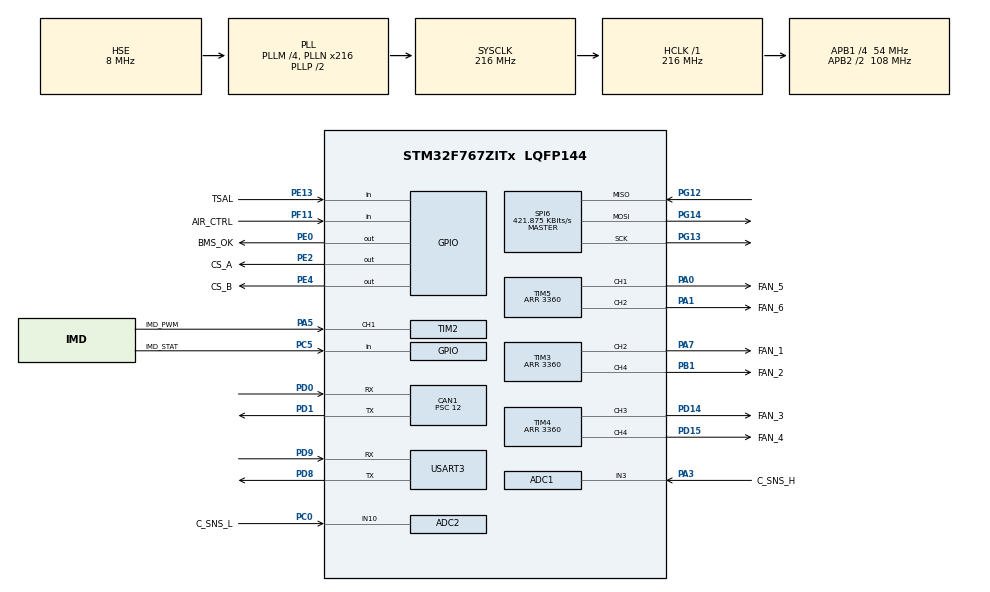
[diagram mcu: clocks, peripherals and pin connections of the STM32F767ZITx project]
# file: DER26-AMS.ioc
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ADC1.Channel-0\#ChannelRegularConversion=ADC_CHANNEL_3
ADC1.ClockPrescaler=ADC_CLOCK_SYNC_PCLK_DIV6
ADC1.NbrOfConversionFlag=1
ADC1.Rank-0\#ChannelRegularConversion=1
ADC1.SamplingTime-0\#ChannelRegularConversion=ADC_SAMPLETIME_3CYCLES
ADC1.master=1
ADC2.Channel-0\#ChannelRegularConversion=ADC_CHANNEL_10
ADC2.ClockPrescaler=ADC_CLOCK_SYNC_PCLK_DIV6
ADC2.NbrOfConversionFlag=1
ADC2.Rank-0\#ChannelRegularConversion=1
ADC2.SamplingTime-0\#ChannelRegularConversion=ADC_SAMPLETIME_3CYCLES
CAN1.ABOM=ENABLE
CAN1.AWUM=ENABLE
CAN1.BS1=CAN_BS1_15TQ
CAN1.BS2=CAN_BS2_2TQ
CAN1.CalculateBaudRate=250000
CAN1.CalculateTimeBit=4000
CAN1.CalculateTimeQuantum=222.22222222222223
CAN1.Prescaler=12
CORTEX_M7.MPU_Control=__NULL
CORTEX_M7.default_mode_Activation=1
FREERTOS.Tasks01=defaultTask,24,128,StartDefaultTask,Default,NULL,Dynamic,NULL,NULL
FREERTOS.configENABLE_FPU=1
FREERTOS.configUSE_NEWLIB_REENTRANT=1
Mcu.Family=STM32F7
Mcu.Name=STM32F767ZITx
Mcu.Package=LQFP144
NVIC.CAN1_RX0_IRQn=true\:5\:0\:false\:false\:true\:true\:true\:true\:true
NVIC.PriorityGroup=NVIC_PRIORITYGROUP_4
NVIC.TIM2_IRQn=true\:5\:0\:false\:false\:true\:true\:true\:true\:true
NVIC.TIM7_IRQn=true\:15\:0\:false\:false\:true\:false\:false\:true\:true
NVIC.TimeBase=TIM7_IRQn
NVIC.TimeBaseIP=TIM7
NVIC.USART3_IRQn=true\:5\:0\:false\:false\:true\:true\:true\:true\:true
PA0/WKUP.GPIO_Label=FAN_5
PA0/WKUP.Signal=S_TIM5_CH1
PA1.GPIO_Label=FAN_6
PA1.Signal=S_TIM5_CH2
PA13.Mode=Serial_Wire
PA13.Signal=SYS_JTMS-SWDIO
PA14.Mode=Serial_Wire
PA14.Signal=SYS_JTCK-SWCLK
PA3.GPIO_Label=C_SNS_H
PA3.Signal=ADCx_IN3
PA5.GPIO_Label=IMD_PWM
PA5.Signal=S_TIM2_CH1_ETR
PA7.GPIO_Label=FAN_1
PA7.Signal=S_TIM3_CH2
PB1.GPIO_Label=FAN_2
PB1.Signal=S_TIM3_CH4
PC0.GPIO_Label=C_SNS_L
PC0.Signal=ADCx_IN10
PC14/OSC32_IN.Mode=LSE-External-Oscillator
PC14/OSC32_IN.Signal=RCC_OSC32_IN
PC15/OSC32_OUT.Mode=LSE-External-Oscillator
PC15/OSC32_OUT.Signal=RCC_OSC32_OUT
PC5.GPIO_Label=IMD_STAT
PC5.Signal=GPIO_Input
PD0.Mode=CAN_Activate
PD0.Signal=CAN1_RX
PD1.Mode=CAN_Activate
PD1.Signal=CAN1_TX
PD14.GPIO_Label=FAN_3
PD14.Signal=S_TIM4_CH3
PD15.GPIO_Label=FAN_4
PD15.Signal=S_TIM4_CH4
PD8.Mode=Asynchronous
PD8.Signal=USART3_TX
PD9.Mode=Asynchronous
PD9.Signal=USART3_RX
PE0.GPIO_Label=BMS_OK
PE0.Signal=GPIO_Output
PE13.GPIO_Label=TSAL
PE13.Signal=GPIO_Input
PE2.GPIO_Label=CS_A
PE2.Signal=GPIO_Output
PE4.GPIO_Label=CS_B
PE4.Signal=GPIO_Output
PF11.GPIO_Label=AIR_CTRL
PF11.Signal=GPIO_Input
PG12.Mode=Full_Duplex_Master
PG12.Signal=SPI6_MISO
PG13.Mode=Full_Duplex_Master
PG13.Signal=SPI6_SCK
PG14.Mode=Full_Duplex_Master
PG14.Signal=SPI6_MOSI
PH0/OSC_IN.Mode=HSE-External-Oscillator
PH0/OSC_IN.Signal=RCC_OSC_IN
PH1/OSC_OUT.Mode=HSE-External-Oscillator
PH1/OSC_OUT.Signal=RCC_OSC_OUT
ProjectManager.HeapSize=0x200
ProjectManager.StackSize=0x400
ProjectManager.TargetToolchain=STM32CubeIDE
RCC.AHBFreq_Value=216000000
RCC.APB1CLKDivider=RCC_HCLK_DIV4
RCC.APB1Freq_Value=54000000
RCC.APB1TimFreq_Value=108000000
RCC.APB2CLKDivider=RCC_HCLK_DIV2
RCC.APB2Freq_Value=108000000
RCC.APB2TimFreq_Value=216000000
RCC.CortexFreq_Value=216000000
RCC.HCLKFreq_Value=216000000
RCC.HSE_VALUE=8000000
RCC.HSI_VALUE=16000000
RCC.PLLM=4
RCC.PLLN=216
RCC.PLLSourceVirtual=RCC_PLLSOURCE_HSE
RCC.SYSCLKFreq_VALUE=216000000
RCC.SYSCLKSource=RCC_SYSCLKSOURCE_PLLCLK
RCC.USBFreq_Value=216000000
RCC.VCOOutputFreq_Value=432000000
SH.ADCx_IN10.0=ADC2_IN10,IN10
SH.ADCx_IN3.0=ADC1_IN3,IN3
SH.S_TIM2_CH1_ETR.0=TIM2_CH1,PWM_Input_1
SH.S_TIM3_CH2.0=TIM3_CH2,PWM Generation2 CH2
SH.S_TIM3_CH4.0=TIM3_CH4,PWM Generation4 CH4
SH.S_TIM4_CH3.0=TIM4_CH3,PWM Generation3 CH3
SH.S_TIM4_CH4.0=TIM4_CH4,PWM Generation4 CH4
SH.S_TIM5_CH1.0=TIM5_CH1,PWM Generation1 CH1
SH.S_TIM5_CH2.0=TIM5_CH2,PWM Generation2 CH2
SPI6.BaudRatePrescaler=SPI_BAUDRATEPRESCALER_256
SPI6.CLKPhase=SPI_PHASE_2EDGE
SPI6.CLKPolarity=SPI_POLARITY_LOW
SPI6.CalculateBaudRate=421.875 KBits/s
SPI6.DataSize=SPI_DATASIZE_8BIT
SPI6.Direction=SPI_DIRECTION_2LINES
SPI6.Mode=SPI_MODE_MASTER
SPI6.VirtualType=VM_MASTER
TIM1.AutoReloadPreload=TIM_AUTORELOAD_PRELOAD_ENABLE
TIM1.Prescaler=215
TIM2.Prescaler=0
TIM3.Channel-PWM\ Generation2\ CH2=TIM_CHANNEL_2
TIM3.Channel-PWM\ Generation4\ CH4=TIM_CHANNEL_4
TIM3.Period=3360
TIM4.AutoReloadPreload=TIM_AUTORELOAD_PRELOAD_ENABLE
TIM4.Channel-PWM\ Generation3\ CH3=TIM_CHANNEL_3
TIM4.Channel-PWM\ Generation4\ CH4=TIM_CHANNEL_4
TIM4.Period=3360
TIM5.AutoReloadPreload=TIM_AUTORELOAD_PRELOAD_ENABLE
TIM5.Channel-PWM\ Generation1\ CH1=TIM_CHANNEL_1
TIM5.Channel-PWM\ Generation2\ CH2=TIM_CHANNEL_2
TIM5.Period=3360
USART3.VirtualMode-Asynchronous=VM_ASYNC
VP_FREERTOS_VS_CMSIS_V2.Mode=CMSIS_V2
VP_SYS_VS_tim7.Mode=TIM7
VP_TIM1_VS_ClockSourceINT.Mode=Internal
VP_TIM2_VS_ClockSourceINT.Mode=Internal
VP_TIM3_VS_ClockSourceINT.Mode=Internal
VP_TIM4_VS_ClockSourceINT.Mode=Internal
VP_TIM5_VS_ClockSourceINT.Mode=Internal
board=custom

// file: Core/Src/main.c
/* USER CODE BEGIN Header */
/**
  ******************************************************************************
  * @file           : main.c
  * @brief          : Main program body
  ******************************************************************************
  * @attention
  *
  * Copyright (c) 2025 STMicroelectronics.
  * All rights reserved.
  *
  * This software is licensed under terms that can be found in the LICENSE file
  * in the root directory of this software component.
  * If no LICENSE file comes with this software, it is provided AS-IS.
  *
  ******************************************************************************
  */
/* USER CODE END Header */
#include "main.h"
#include "cmsis_os.h"

/* USER CODE BEGIN Includes */
#include "app.h"
/* USER CODE END Includes */

ADC_HandleTypeDef hadc1;
ADC_HandleTypeDef hadc2;

CAN_HandleTypeDef hcan1;

SPI_HandleTypeDef hspi6;

TIM_HandleTypeDef htim1;
TIM_HandleTypeDef htim2;
TIM_HandleTypeDef htim3;
TIM_HandleTypeDef htim4;
TIM_HandleTypeDef htim5;

UART_HandleTypeDef huart3;

/* Definitions for defaultTask */
osThreadId_t defaultTaskHandle;
const osThreadAttr_t defaultTask_attributes = {
  .name = "defaultTask",
  .stack_size = 128 * 4,
  .priority = (osPriority_t) osPriorityNormal,
};

void SystemClock_Config(void);
static void MX_GPIO_Init(void);
static void MX_ADC1_Init(void);
static void MX_ADC2_Init(void);
static void MX_CAN1_Init(void);
static void MX_SPI6_Init(void);
static void MX_TIM2_Init(void);
static void MX_TIM3_Init(void);
static void MX_TIM4_Init(void);
static void MX_TIM5_Init(void);
static void MX_USART3_UART_Init(void);
static void MX_TIM1_Init(void);
void StartDefaultTask(void *argument);

int main(void)
{

  /* MCU Configuration--------------------------------------------------------*/

  /* Reset of all peripherals, Initializes the Flash interface and the Systick. */
  HAL_Init();

  /* Configure the system clock */
  SystemClock_Config();

  /* Initialize all configured peripherals */
  MX_GPIO_Init();
  MX_ADC1_Init();
  MX_ADC2_Init();
  MX_CAN1_Init();
  MX_SPI6_Init();
  MX_TIM2_Init();
  MX_TIM3_Init();
  MX_TIM4_Init();
  MX_TIM5_Init();
  MX_USART3_UART_Init();
  MX_TIM1_Init();

  /* Init scheduler */
  osKernelInitialize();

  /* USER CODE BEGIN RTOS_QUEUES */
  /* add queues, ... */
#if 0
  /* USER CODE END RTOS_QUEUES */

  /* Create the thread(s) */
  /* creation of defaultTask */
  defaultTaskHandle = osThreadNew(StartDefaultTask, NULL, &defaultTask_attributes);

  /* USER CODE BEGIN RTOS_THREADS */
#endif
  /* add threads, ... */
  /* USER CODE END RTOS_THREADS */

  /* USER CODE BEGIN RTOS_EVENTS */
  /* add events, ... */
  app_create();
  /* USER CODE END RTOS_EVENTS */

  /* Start scheduler */
  osKernelStart();

  /* We should never get here as control is now taken by the scheduler */

  /* Infinite loop */
  while (1)
  {

  }
}

void SystemClock_Config(void)
{
  RCC_OscInitTypeDef RCC_OscInitStruct = {0};
  RCC_ClkInitTypeDef RCC_ClkInitStruct = {0};

  /** Configure LSE Drive Capability
  */
  HAL_PWR_EnableBkUpAccess();

  /** Configure the main internal regulator output voltage
  */
  __HAL_RCC_PWR_CLK_ENABLE();
  __HAL_PWR_VOLTAGESCALING_CONFIG(PWR_REGULATOR_VOLTAGE_SCALE1);

  /** Initializes the RCC Oscillators according to the specified parameters
  * in the RCC_OscInitTypeDef structure.
  */
  RCC_OscInitStruct.OscillatorType = RCC_OSCILLATORTYPE_HSE;
  RCC_OscInitStruct.HSEState = RCC_HSE_ON;
  RCC_OscInitStruct.PLL.PLLState = RCC_PLL_ON;
  RCC_OscInitStruct.PLL.PLLSource = RCC_PLLSOURCE_HSE;
  RCC_OscInitStruct.PLL.PLLM = 4;
  RCC_OscInitStruct.PLL.PLLN = 216;
  RCC_OscInitStruct.PLL.PLLP = RCC_PLLP_DIV2;
  RCC_OscInitStruct.PLL.PLLQ = 2;
  RCC_OscInitStruct.PLL.PLLR = 2;
  if (HAL_RCC_OscConfig(&RCC_OscInitStruct) != HAL_OK)
  {
    Error_Handler();
  }

  /** Activate the Over-Drive mode
  */
  if (HAL_PWREx_EnableOverDrive() != HAL_OK)
  {
    Error_Handler();
  }

  /** Initializes the CPU, AHB and APB buses clocks
  */
  RCC_ClkInitStruct.ClockType = RCC_CLOCKTYPE_HCLK|RCC_CLOCKTYPE_SYSCLK
                              |RCC_CLOCKTYPE_PCLK1|RCC_CLOCKTYPE_PCLK2;
  RCC_ClkInitStruct.SYSCLKSource = RCC_SYSCLKSOURCE_PLLCLK;
  RCC_ClkInitStruct.AHBCLKDivider = RCC_SYSCLK_DIV1;
  RCC_ClkInitStruct.APB1CLKDivider = RCC_HCLK_DIV4;
  RCC_ClkInitStruct.APB2CLKDivider = RCC_HCLK_DIV2;

  if (HAL_RCC_ClockConfig(&RCC_ClkInitStruct, FLASH_LATENCY_7) != HAL_OK)
  {
    Error_Handler();
  }
}

static void MX_ADC1_Init(void)
{

  ADC_ChannelConfTypeDef sConfig = {0};

  /** Configure the global features of the ADC (Clock, Resolution, Data Alignment and number of conversion)
  */
  hadc1.Instance = ADC1;
  hadc1.Init.ClockPrescaler = ADC_CLOCK_SYNC_PCLK_DIV6;
  hadc1.Init.Resolution = ADC_RESOLUTION_12B;
  hadc1.Init.ScanConvMode = ADC_SCAN_DISABLE;
  hadc1.Init.ContinuousConvMode = DISABLE;
  hadc1.Init.DiscontinuousConvMode = DISABLE;
  hadc1.Init.ExternalTrigConvEdge = ADC_EXTERNALTRIGCONVEDGE_NONE;
  hadc1.Init.ExternalTrigConv = ADC_SOFTWARE_START;
  hadc1.Init.DataAlign = ADC_DATAALIGN_RIGHT;
  hadc1.Init.NbrOfConversion = 1;
  hadc1.Init.DMAContinuousRequests = DISABLE;
  hadc1.Init.EOCSelection = ADC_EOC_SINGLE_CONV;
  if (HAL_ADC_Init(&hadc1) != HAL_OK)
  {
    Error_Handler();
  }

  /** Configure for the selected ADC regular channel its corresponding rank in the sequencer and its sample time.
  */
  sConfig.Channel = ADC_CHANNEL_3;
  sConfig.Rank = ADC_REGULAR_RANK_1;
  sConfig.SamplingTime = ADC_SAMPLETIME_3CYCLES;
  if (HAL_ADC_ConfigChannel(&hadc1, &sConfig) != HAL_OK)
  {
    Error_Handler();
  }

}

static void MX_ADC2_Init(void)
{

  ADC_ChannelConfTypeDef sConfig = {0};

  /** Configure the global features of the ADC (Clock, Resolution, Data Alignment and number of conversion)
  */
  hadc2.Instance = ADC2;
  hadc2.Init.ClockPrescaler = ADC_CLOCK_SYNC_PCLK_DIV6;
  hadc2.Init.Resolution = ADC_RESOLUTION_12B;
  hadc2.Init.ScanConvMode = ADC_SCAN_DISABLE;
  hadc2.Init.ContinuousConvMode = DISABLE;
  hadc2.Init.DiscontinuousConvMode = DISABLE;
  hadc2.Init.ExternalTrigConvEdge = ADC_EXTERNALTRIGCONVEDGE_NONE;
  hadc2.Init.ExternalTrigConv = ADC_SOFTWARE_START;
  hadc2.Init.DataAlign = ADC_DATAALIGN_RIGHT;
  hadc2.Init.NbrOfConversion = 1;
  hadc2.Init.DMAContinuousRequests = DISABLE;
  hadc2.Init.EOCSelection = ADC_EOC_SINGLE_CONV;
  if (HAL_ADC_Init(&hadc2) != HAL_OK)
  {
    Error_Handler();
  }

  /** Configure for the selected ADC regular channel its corresponding rank in the sequencer and its sample time.
  */
  sConfig.Channel = ADC_CHANNEL_10;
  sConfig.Rank = ADC_REGULAR_RANK_1;
  sConfig.SamplingTime = ADC_SAMPLETIME_3CYCLES;
  if (HAL_ADC_ConfigChannel(&hadc2, &sConfig) != HAL_OK)
  {
    Error_Handler();
  }

}

static void MX_CAN1_Init(void)
{

  hcan1.Instance = CAN1;
  hcan1.Init.Prescaler = 12;
  hcan1.Init.Mode = CAN_MODE_NORMAL;
  hcan1.Init.SyncJumpWidth = CAN_SJW_1TQ;
  hcan1.Init.TimeSeg1 = CAN_BS1_15TQ;
  hcan1.Init.TimeSeg2 = CAN_BS2_2TQ;
  hcan1.Init.TimeTriggeredMode = DISABLE;
  hcan1.Init.AutoBusOff = ENABLE;
  hcan1.Init.AutoWakeUp = ENABLE;
  hcan1.Init.AutoRetransmission = DISABLE;
  hcan1.Init.ReceiveFifoLocked = DISABLE;
  hcan1.Init.TransmitFifoPriority = DISABLE;
  if (HAL_CAN_Init(&hcan1) != HAL_OK)
  {
    Error_Handler();
  }
  /* USER CODE BEGIN CAN1_Init 2 */
  CAN_FilterTypeDef canfil;
  canfil.FilterBank           = 0;
  canfil.FilterMode           = CAN_FILTERMODE_IDMASK;
  canfil.FilterFIFOAssignment = CAN_RX_FIFO0;
  canfil.FilterIdHigh         = 0;
  canfil.FilterIdLow          = 0;
  canfil.FilterMaskIdHigh     = 0;
  canfil.FilterMaskIdLow      = 0;
  canfil.FilterScale          = CAN_FILTERSCALE_32BIT;
  canfil.FilterActivation     = ENABLE;
  canfil.SlaveStartFilterBank = 14;
  HAL_CAN_ConfigFilter(&hcan1, &canfil);
  /* USER CODE END CAN1_Init 2 */

}

static void MX_SPI6_Init(void)
{

  /* SPI6 parameter configuration*/
  hspi6.Instance = SPI6;
  hspi6.Init.Mode = SPI_MODE_MASTER;
  hspi6.Init.Direction = SPI_DIRECTION_2LINES;
  hspi6.Init.DataSize = SPI_DATASIZE_8BIT;
  hspi6.Init.CLKPolarity = SPI_POLARITY_LOW;
  hspi6.Init.CLKPhase = SPI_PHASE_2EDGE;
  hspi6.Init.NSS = SPI_NSS_SOFT;
  hspi6.Init.BaudRatePrescaler = SPI_BAUDRATEPRESCALER_256;
  hspi6.Init.FirstBit = SPI_FIRSTBIT_MSB;
  hspi6.Init.TIMode = SPI_TIMODE_DISABLE;
  hspi6.Init.CRCCalculation = SPI_CRCCALCULATION_DISABLE;
  hspi6.Init.CRCPolynomial = 7;
  hspi6.Init.CRCLength = SPI_CRC_LENGTH_DATASIZE;
  hspi6.Init.NSSPMode = SPI_NSS_PULSE_DISABLE;
  if (HAL_SPI_Init(&hspi6) != HAL_OK)
  {
    Error_Handler();
  }

}

static void MX_TIM1_Init(void)
{

  TIM_ClockConfigTypeDef sClockSourceConfig = {0};
  TIM_MasterConfigTypeDef sMasterConfig = {0};

  htim1.Instance = TIM1;
  htim1.Init.Prescaler = 215;
  htim1.Init.CounterMode = TIM_COUNTERMODE_UP;
  htim1.Init.Period = 65535;
  htim1.Init.ClockDivision = TIM_CLOCKDIVISION_DIV1;
  htim1.Init.RepetitionCounter = 0;
  htim1.Init.AutoReloadPreload = TIM_AUTORELOAD_PRELOAD_ENABLE;
  if (HAL_TIM_Base_Init(&htim1) != HAL_OK)
  {
    Error_Handler();
  }
  sClockSourceConfig.ClockSource = TIM_CLOCKSOURCE_INTERNAL;
  if (HAL_TIM_ConfigClockSource(&htim1, &sClockSourceConfig) != HAL_OK)
  {
    Error_Handler();
  }
  sMasterConfig.MasterOutputTrigger = TIM_TRGO_RESET;
  sMasterConfig.MasterOutputTrigger2 = TIM_TRGO2_RESET;
  sMasterConfig.MasterSlaveMode = TIM_MASTERSLAVEMODE_DISABLE;
  if (HAL_TIMEx_MasterConfigSynchronization(&htim1, &sMasterConfig) != HAL_OK)
  {
    Error_Handler();
  }

}

static void MX_TIM2_Init(void)
{

  TIM_ClockConfigTypeDef sClockSourceConfig = {0};
  TIM_SlaveConfigTypeDef sSlaveConfig = {0};
  TIM_IC_InitTypeDef sConfigIC = {0};
  TIM_MasterConfigTypeDef sMasterConfig = {0};

  htim2.Instance = TIM2;
  htim2.Init.Prescaler = 0;
  htim2.Init.CounterMode = TIM_COUNTERMODE_UP;
  htim2.Init.Period = 4294967295;
  htim2.Init.ClockDivision = TIM_CLOCKDIVISION_DIV1;
  htim2.Init.AutoReloadPreload = TIM_AUTORELOAD_PRELOAD_DISABLE;
  if (HAL_TIM_Base_Init(&htim2) != HAL_OK)
  {
    Error_Handler();
  }
  sClockSourceConfig.ClockSource = TIM_CLOCKSOURCE_INTERNAL;
  if (HAL_TIM_ConfigClockSource(&htim2, &sClockSourceConfig) != HAL_OK)
  {
    Error_Handler();
  }
  if (HAL_TIM_IC_Init(&htim2) != HAL_OK)
  {
    Error_Handler();
  }
  sSlaveConfig.SlaveMode = TIM_SLAVEMODE_RESET;
  sSlaveConfig.InputTrigger = TIM_TS_TI1FP1;
  sSlaveConfig.TriggerPolarity = TIM_INPUTCHANNELPOLARITY_RISING;
  sSlaveConfig.TriggerPrescaler = TIM_ICPSC_DIV1;
  sSlaveConfig.TriggerFilter = 0;
  if (HAL_TIM_SlaveConfigSynchro(&htim2, &sSlaveConfig) != HAL_OK)
  {
    Error_Handler();
  }
  sConfigIC.ICPolarity = TIM_INPUTCHANNELPOLARITY_RISING;
  sConfigIC.ICSelection = TIM_ICSELECTION_DIRECTTI;
  sConfigIC.ICPrescaler = TIM_ICPSC_DIV1;
  sConfigIC.ICFilter = 0;
  if (HAL_TIM_IC_ConfigChannel(&htim2, &sConfigIC, TIM_CHANNEL_1) != HAL_OK)
  {
    Error_Handler();
  }
  sConfigIC.ICPolarity = TIM_INPUTCHANNELPOLARITY_FALLING;
  sConfigIC.ICSelection = TIM_ICSELECTION_INDIRECTTI;
  if (HAL_TIM_IC_ConfigChannel(&htim2, &sConfigIC, TIM_CHANNEL_2) != HAL_OK)
  {
    Error_Handler();
  }
  sMasterConfig.MasterOutputTrigger = TIM_TRGO_RESET;
  sMasterConfig.MasterSlaveMode = TIM_MASTERSLAVEMODE_DISABLE;
  if (HAL_TIMEx_MasterConfigSynchronization(&htim2, &sMasterConfig) != HAL_OK)
  {
    Error_Handler();
  }

}

static void MX_TIM3_Init(void)
{

  TIM_ClockConfigTypeDef sClockSourceConfig = {0};
  TIM_MasterConfigTypeDef sMasterConfig = {0};
  TIM_OC_InitTypeDef sConfigOC = {0};

  htim3.Instance = TIM3;
  htim3.Init.Prescaler = 0;
  htim3.Init.CounterMode = TIM_COUNTERMODE_UP;
  htim3.Init.Period = 3360;
  htim3.Init.ClockDivision = TIM_CLOCKDIVISION_DIV1;
  htim3.Init.AutoReloadPreload = TIM_AUTORELOAD_PRELOAD_DISABLE;
  if (HAL_TIM_Base_Init(&htim3) != HAL_OK)
  {
    Error_Handler();
  }
  sClockSourceConfig.ClockSource = TIM_CLOCKSOURCE_INTERNAL;
  if (HAL_TIM_ConfigClockSource(&htim3, &sClockSourceConfig) != HAL_OK)
  {
    Error_Handler();
  }
  if (HAL_TIM_PWM_Init(&htim3) != HAL_OK)
  {
    Error_Handler();
  }
  sMasterConfig.MasterOutputTrigger = TIM_TRGO_RESET;
  sMasterConfig.MasterSlaveMode = TIM_MASTERSLAVEMODE_DISABLE;
  if (HAL_TIMEx_MasterConfigSynchronization(&htim3, &sMasterConfig) != HAL_OK)
  {
    Error_Handler();
  }
  sConfigOC.OCMode = TIM_OCMODE_PWM1;
  sConfigOC.Pulse = 0;
  sConfigOC.OCPolarity = TIM_OCPOLARITY_HIGH;
  sConfigOC.OCFastMode = TIM_OCFAST_DISABLE;
  if (HAL_TIM_PWM_ConfigChannel(&htim3, &sConfigOC, TIM_CHANNEL_2) != HAL_OK)
  {
    Error_Handler();
  }
  if (HAL_TIM_PWM_ConfigChannel(&htim3, &sConfigOC, TIM_CHANNEL_4) != HAL_OK)
  {
    Error_Handler();
  }
  HAL_TIM_MspPostInit(&htim3);

}

static void MX_TIM4_Init(void)
{

  TIM_ClockConfigTypeDef sClockSourceConfig = {0};
  TIM_MasterConfigTypeDef sMasterConfig = {0};
  TIM_OC_InitTypeDef sConfigOC = {0};

  htim4.Instance = TIM4;
  htim4.Init.Prescaler = 0;
  htim4.Init.CounterMode = TIM_COUNTERMODE_UP;
  htim4.Init.Period = 3360;
  htim4.Init.ClockDivision = TIM_CLOCKDIVISION_DIV1;
  htim4.Init.AutoReloadPreload = TIM_AUTORELOAD_PRELOAD_ENABLE;
  if (HAL_TIM_Base_Init(&htim4) != HAL_OK)
  {
    Error_Handler();
  }
  sClockSourceConfig.ClockSource = TIM_CLOCKSOURCE_INTERNAL;
  if (HAL_TIM_ConfigClockSource(&htim4, &sClockSourceConfig) != HAL_OK)
  {
    Error_Handler();
  }
  if (HAL_TIM_PWM_Init(&htim4) != HAL_OK)
  {
    Error_Handler();
  }
  sMasterConfig.MasterOutputTrigger = TIM_TRGO_RESET;
  sMasterConfig.MasterSlaveMode = TIM_MASTERSLAVEMODE_DISABLE;
  if (HAL_TIMEx_MasterConfigSynchronization(&htim4, &sMasterConfig) != HAL_OK)
  {
    Error_Handler();
  }
  sConfigOC.OCMode = TIM_OCMODE_PWM1;
  sConfigOC.Pulse = 0;
  sConfigOC.OCPolarity = TIM_OCPOLARITY_HIGH;
  sConfigOC.OCFastMode = TIM_OCFAST_DISABLE;
  if (HAL_TIM_PWM_ConfigChannel(&htim4, &sConfigOC, TIM_CHANNEL_3) != HAL_OK)
  {
    Error_Handler();
  }
  if (HAL_TIM_PWM_ConfigChannel(&htim4, &sConfigOC, TIM_CHANNEL_4) != HAL_OK)
  {
    Error_Handler();
  }
  HAL_TIM_MspPostInit(&htim4);

}

static void MX_TIM5_Init(void)
{

  TIM_ClockConfigTypeDef sClockSourceConfig = {0};
  TIM_MasterConfigTypeDef sMasterConfig = {0};
  TIM_OC_InitTypeDef sConfigOC = {0};

  htim5.Instance = TIM5;
  htim5.Init.Prescaler = 0;
  htim5.Init.CounterMode = TIM_COUNTERMODE_UP;
  htim5.Init.Period = 3360;
  htim5.Init.ClockDivision = TIM_CLOCKDIVISION_DIV1;
  htim5.Init.AutoReloadPreload = TIM_AUTORELOAD_PRELOAD_ENABLE;
  if (HAL_TIM_Base_Init(&htim5) != HAL_OK)
  {
    Error_Handler();
  }
  sClockSourceConfig.ClockSource = TIM_CLOCKSOURCE_INTERNAL;
  if (HAL_TIM_ConfigClockSource(&htim5, &sClockSourceConfig) != HAL_OK)
  {
    Error_Handler();
  }
  if (HAL_TIM_PWM_Init(&htim5) != HAL_OK)
  {
    Error_Handler();
  }
  sMasterConfig.MasterOutputTrigger = TIM_TRGO_RESET;
  sMasterConfig.MasterSlaveMode = TIM_MASTERSLAVEMODE_DISABLE;
  if (HAL_TIMEx_MasterConfigSynchronization(&htim5, &sMasterConfig) != HAL_OK)
  {
    Error_Handler();
  }
  sConfigOC.OCMode = TIM_OCMODE_PWM1;
  sConfigOC.Pulse = 0;
  sConfigOC.OCPolarity = TIM_OCPOLARITY_HIGH;
  sConfigOC.OCFastMode = TIM_OCFAST_DISABLE;
  if (HAL_TIM_PWM_ConfigChannel(&htim5, &sConfigOC, TIM_CHANNEL_1) != HAL_OK)
  {
    Error_Handler();
  }
  if (HAL_TIM_PWM_ConfigChannel(&htim5, &sConfigOC, TIM_CHANNEL_2) != HAL_OK)
  {
    Error_Handler();
  }
  HAL_TIM_MspPostInit(&htim5);

}

static void MX_USART3_UART_Init(void)
{

  huart3.Instance = USART3;
  huart3.Init.BaudRate = 115200;
  huart3.Init.WordLength = UART_WORDLENGTH_8B;
  huart3.Init.StopBits = UART_STOPBITS_1;
  huart3.Init.Parity = UART_PARITY_NONE;
  huart3.Init.Mode = UART_MODE_TX_RX;
  huart3.Init.HwFlowCtl = UART_HWCONTROL_NONE;
  huart3.Init.OverSampling = UART_OVERSAMPLING_16;
  huart3.Init.OneBitSampling = UART_ONE_BIT_SAMPLE_DISABLE;
  huart3.AdvancedInit.AdvFeatureInit = UART_ADVFEATURE_NO_INIT;
  if (HAL_UART_Init(&huart3) != HAL_OK)
  {
    Error_Handler();
  }

}

static void MX_GPIO_Init(void)
{
  GPIO_InitTypeDef GPIO_InitStruct = {0};

  /* GPIO Ports Clock Enable */
  __HAL_RCC_GPIOE_CLK_ENABLE();
  __HAL_RCC_GPIOC_CLK_ENABLE();
  __HAL_RCC_GPIOF_CLK_ENABLE();
  __HAL_RCC_GPIOH_CLK_ENABLE();
  __HAL_RCC_GPIOA_CLK_ENABLE();
  __HAL_RCC_GPIOB_CLK_ENABLE();
  __HAL_RCC_GPIOG_CLK_ENABLE();
  __HAL_RCC_GPIOD_CLK_ENABLE();

  /*Configure GPIO pin Output Level */
  HAL_GPIO_WritePin(GPIOE, CS_A_Pin|CS_B_Pin|BMS_OK_Pin, GPIO_PIN_RESET);

  /*Configure GPIO pins : CS_A_Pin CS_B_Pin BMS_OK_Pin */
  GPIO_InitStruct.Pin = CS_A_Pin|CS_B_Pin|BMS_OK_Pin;
  GPIO_InitStruct.Mode = GPIO_MODE_OUTPUT_PP;
  GPIO_InitStruct.Pull = GPIO_NOPULL;
  GPIO_InitStruct.Speed = GPIO_SPEED_FREQ_LOW;
  HAL_GPIO_Init(GPIOE, &GPIO_InitStruct);

  /*Configure GPIO pins : PE3 PE5 PE6 PE7
                           PE8 PE9 PE10 PE11
                           PE12 PE14 PE15 PE1 */
  GPIO_InitStruct.Pin = GPIO_PIN_3|GPIO_PIN_5|GPIO_PIN_6|GPIO_PIN_7
                          |GPIO_PIN_8|GPIO_PIN_9|GPIO_PIN_10|GPIO_PIN_11
                          |GPIO_PIN_12|GPIO_PIN_14|GPIO_PIN_15|GPIO_PIN_1;
  GPIO_InitStruct.Mode = GPIO_MODE_ANALOG;
  GPIO_InitStruct.Pull = GPIO_NOPULL;
  HAL_GPIO_Init(GPIOE, &GPIO_InitStruct);

  /*Configure GPIO pins : PC13 PC1 PC2 PC3
                           PC4 PC6 PC7 PC8
                           PC9 PC10 PC11 PC12 */
  GPIO_InitStruct.Pin = GPIO_PIN_13|GPIO_PIN_1|GPIO_PIN_2|GPIO_PIN_3
                          |GPIO_PIN_4|GPIO_PIN_6|GPIO_PIN_7|GPIO_PIN_8
                          |GPIO_PIN_9|GPIO_PIN_10|GPIO_PIN_11|GPIO_PIN_12;
  GPIO_InitStruct.Mode = GPIO_MODE_ANALOG;
  GPIO_InitStruct.Pull = GPIO_NOPULL;
  HAL_GPIO_Init(GPIOC, &GPIO_InitStruct);

  /*Configure GPIO pins : PF0 PF1 PF2 PF3
                           PF4 PF5 PF6 PF7
                           PF8 PF9 PF10 PF12
                           PF13 PF14 PF15 */
  GPIO_InitStruct.Pin = GPIO_PIN_0|GPIO_PIN_1|GPIO_PIN_2|GPIO_PIN_3
                          |GPIO_PIN_4|GPIO_PIN_5|GPIO_PIN_6|GPIO_PIN_7
                          |GPIO_PIN_8|GPIO_PIN_9|GPIO_PIN_10|GPIO_PIN_12
                          |GPIO_PIN_13|GPIO_PIN_14|GPIO_PIN_15;
  GPIO_InitStruct.Mode = GPIO_MODE_ANALOG;
  GPIO_InitStruct.Pull = GPIO_NOPULL;
  HAL_GPIO_Init(GPIOF, &GPIO_InitStruct);

  /*Configure GPIO pins : PA2 PA4 PA6 PA8
                           PA9 PA10 PA11 PA12
                           PA15 */
  GPIO_InitStruct.Pin = GPIO_PIN_2|GPIO_PIN_4|GPIO_PIN_6|GPIO_PIN_8
                          |GPIO_PIN_9|GPIO_PIN_10|GPIO_PIN_11|GPIO_PIN_12
                          |GPIO_PIN_15;
  GPIO_InitStruct.Mode = GPIO_MODE_ANALOG;
  GPIO_InitStruct.Pull = GPIO_NOPULL;
  HAL_GPIO_Init(GPIOA, &GPIO_InitStruct);

  /*Configure GPIO pin : IMD_STAT_Pin */
  GPIO_InitStruct.Pin = IMD_STAT_Pin;
  GPIO_InitStruct.Mode = GPIO_MODE_INPUT;
  GPIO_InitStruct.Pull = GPIO_NOPULL;
  HAL_GPIO_Init(IMD_STAT_GPIO_Port, &GPIO_InitStruct);

  /*Configure GPIO pins : PB0 PB2 PB10 PB11
                           PB12 PB13 PB14 PB15
                           PB3 PB4 PB5 PB6
                           PB7 PB8 PB9 */
  GPIO_InitStruct.Pin = GPIO_PIN_0|GPIO_PIN_2|GPIO_PIN_10|GPIO_PIN_11
                          |GPIO_PIN_12|GPIO_PIN_13|GPIO_PIN_14|GPIO_PIN_15
                          |GPIO_PIN_3|GPIO_PIN_4|GPIO_PIN_5|GPIO_PIN_6
                          |GPIO_PIN_7|GPIO_PIN_8|GPIO_PIN_9;
  GPIO_InitStruct.Mode = GPIO_MODE_ANALOG;
  GPIO_InitStruct.Pull = GPIO_NOPULL;
  HAL_GPIO_Init(GPIOB, &GPIO_InitStruct);

  /*Configure GPIO pin : AIR_CTRL_Pin */
  GPIO_InitStruct.Pin = AIR_CTRL_Pin;
  GPIO_InitStruct.Mode = GPIO_MODE_INPUT;
  GPIO_InitStruct.Pull = GPIO_NOPULL;
  HAL_GPIO_Init(AIR_CTRL_GPIO_Port, &GPIO_InitStruct);

  /*Configure GPIO pins : PG0 PG1 PG2 PG3
                           PG4 PG5 PG6 PG7
                           PG8 PG9 PG10 PG11
                           PG15 */
  GPIO_InitStruct.Pin = GPIO_PIN_0|GPIO_PIN_1|GPIO_PIN_2|GPIO_PIN_3
                          |GPIO_PIN_4|GPIO_PIN_5|GPIO_PIN_6|GPIO_PIN_7
                          |GPIO_PIN_8|GPIO_PIN_9|GPIO_PIN_10|GPIO_PIN_11
                          |GPIO_PIN_15;
  GPIO_InitStruct.Mode = GPIO_MODE_ANALOG;
  GPIO_InitStruct.Pull = GPIO_NOPULL;
  HAL_GPIO_Init(GPIOG, &GPIO_InitStruct);

  /*Configure GPIO pin : TSAL_Pin */
  GPIO_InitStruct.Pin = TSAL_Pin;
  GPIO_InitStruct.Mode = GPIO_MODE_INPUT;
  GPIO_InitStruct.Pull = GPIO_NOPULL;
  HAL_GPIO_Init(TSAL_GPIO_Port, &GPIO_InitStruct);

  /*Configure GPIO pins : PD10 PD11 PD12 PD13
                           PD2 PD3 PD4 PD5
                           PD6 PD7 */
  GPIO_InitStruct.Pin = GPIO_PIN_10|GPIO_PIN_11|GPIO_PIN_12|GPIO_PIN_13
                          |GPIO_PIN_2|GPIO_PIN_3|GPIO_PIN_4|GPIO_PIN_5
                          |GPIO_PIN_6|GPIO_PIN_7;
  GPIO_InitStruct.Mode = GPIO_MODE_ANALOG;
  GPIO_InitStruct.Pull = GPIO_NOPULL;
  HAL_GPIO_Init(GPIOD, &GPIO_InitStruct);

}

void StartDefaultTask(void *argument)
{
  for(;;)
  {
    osDelay(1);
  }
}

void HAL_TIM_PeriodElapsedCallback(TIM_HandleTypeDef *htim)
{
  if (htim->Instance == TIM7) {
    HAL_IncTick();
  }
}

void Error_Handler(void)
{
  __disable_irq();
  while (1)
  {
  }
}
